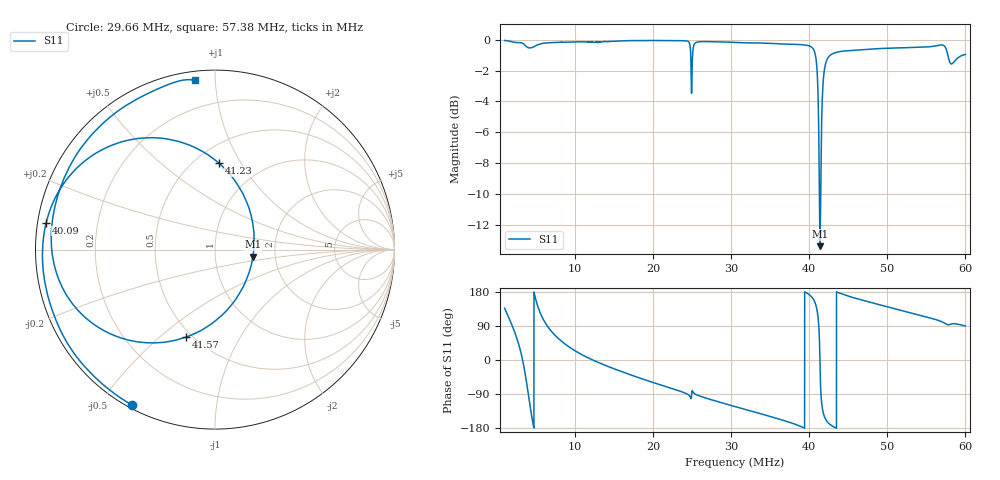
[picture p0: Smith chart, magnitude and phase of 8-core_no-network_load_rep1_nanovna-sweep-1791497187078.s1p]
! NanoVNA Web complex sweep
! Processing: unaveraged complex samples; linear segment spacing; no smoothing
# Hz S RI R 50
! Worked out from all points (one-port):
!   5050 points, 1 MHz to 60 MHz, reference 50 ohm
!   lowest |S11| = -13.4 dB at 41.38 MHz (marker M1), VSWR 1.55, Z = 76.4 - j6.44 ohm
!   |S11| at or under -10 dB: 41.30536 MHz to 41.46125 MHz (155.9 kHz wide, 0.377 % of centre)
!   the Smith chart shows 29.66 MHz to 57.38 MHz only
!   S11 on the Smith chart (normalised r, x): 29.66 MHz: 0.01, -0.60; 40.09 MHz: 0.02, +0.08; 41.23 MHz: 0.64, +0.81; 41.57 MHz: 0.46, -0.61; 57.38 MHz: 0.05, +0.89
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1000000  -0.721 0.6836
2238610  0.2293 0.953
3173410  0.9539 0.2101
3582385  0.8317 -0.4806
4026415  0.00772 -0.942
4388650  -0.7097 -0.6183
4704145  -0.9435 -0.0862
5194915  -0.7886 0.5494
5720740  -0.4367 0.8671
8384920  0.6582 0.7269
1.135291e7  0.9705 0.1566
1.575816e7  0.8658 -0.4802
2.313139e7  0.1705 -0.9773
2.96633e7  -0.461 -0.8665
3.050462e7  -0.5328 -0.8217
3.787786e7  -0.9417 -0.2149
4.008632e7  -0.9406 0.1499
4.074068e7  -0.7947 0.4286
4.100944e7  -0.5163 0.6016
4.123146e7  0.0211 0.483
4.138336e7  0.2111 -0.0402
4.157032e7  -0.1618 -0.4877
4.194424e7  -0.6865 -0.4078
4.237658e7  -0.8397 -0.2321
4.52511e7  -0.8985 0.2068
5.262433e7  -0.5588 0.7585
5.738012e7  -0.1115 0.9422
5.999756e7  0.00416 0.8957
